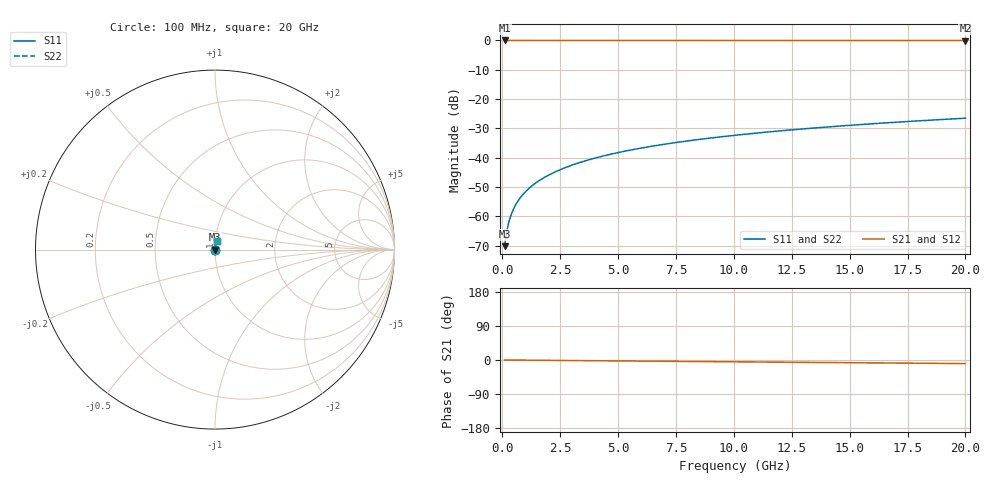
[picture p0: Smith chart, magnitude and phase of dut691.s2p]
! Touchstone file exported from HFSS 2026.1.0
!  File:  C:/ffzhzh/LocalFiles/Ansys_Project_Files/temp_train_TSV_691_1783027623_55676.aedt
!  Generated:  05:29:29 AM Jul  3, 2026
!  Design:  TSV
!  Project:  temp_train_TSV_691_1783027623_55676
! Variables:
!  h_bsmrdl = 2um
!  h_ox = 20um
!  h_rdl = 5um
!  h_sub = 87.3um
!  h_tmrdl = 5um
!  h_tsv = 87.3um
!  h_via = 3um
!  l_bsmrdl = 300um
!  l_sub = 419.82um
!  l_tmrdl = 200um
!  m_sub = 200um
!  pitch = 57.44um
!  r_tsv = 9.91um
!  s_tmrdl = 10um
!  w_bsmrdl = 18um
!  w_sub = 500um
!  w_tmrdl = 12um
!  x_tsv_center1 = 206um
!  x_tsv_center2 = 524um
!  x_tsv_center3 = 736um
!  x_tsv_center4 = 1054um
!  x_tsv_center5 = 1266um
!  x_tsv_center6 = 1584um
# GHz S MA R 50.000000
! Terminal data exported
! Port[1] = TSV1_1_T1
! Port[2] = TSV1_1_T2
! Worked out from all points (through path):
!   200 points, 100 MHz to 20 GHz, reference 50 ohm
!   highest |S21| = 0.00 dB at 100 MHz (marker M1); lowest = 0.0 dB at 20 GHz (marker M2)
!   group delay of S21, straight-line fit = 1.31 ps
!   lowest |S11| = -70.1 dB at 100 MHz (marker M3), VSWR 1.00, Z = 50 + j0.0281 ohm
!   |S11| at or under -10 dB: start of sweep to end of sweep
!   |S22| runs from -70.1 to -26.5 dB; largest |S21 - S12| = 5.6e-15
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0.1  0.0003114 64.4  0.9999 -0.0  0.9999 -0.0  0.0003114 64.4
! Gamma 0 0 0 0
! Port Impedance 50 0 50 0
0.2  0.000578 75.3  0.9999 -0.1  0.9999 -0.1  0.000578 75.3
0.3  0.0008493 78.8  0.9998 -0.1  0.9998 -0.1  0.0008493 78.8
0.4  0.001118 80.4  0.9998 -0.2  0.9998 -0.2  0.001118 80.4
0.5  0.001382 81.2  0.9998 -0.2  0.9998 -0.2  0.001382 81.2
0.6  0.001641 81.7  0.9998 -0.3  0.9998 -0.3  0.001641 81.7
0.7  0.001896 82.0  0.9997 -0.3  0.9997 -0.3  0.001896 82.0
0.8  0.002147 82.3  0.9997 -0.4  0.9997 -0.4  0.002147 82.3
1  0.002642 82.7  0.9997 -0.5  0.9997 -0.5  0.002642 82.7
1.4  0.003616 83.4  0.9996 -0.7  0.9996 -0.7  0.003616 83.4
1.7  0.004342 83.8  0.9996 -0.8  0.9996 -0.8  0.004342 83.8
2  0.005066 84.1  0.9995 -1.0  0.9995 -1.0  0.005066 84.1
2.7  0.006755 84.5  0.9995 -1.3  0.9995 -1.3  0.006755 84.5
3.5  0.00868 84.6  0.9994 -1.7  0.9994 -1.7  0.00868 84.6
4.2  0.01036 84.6  0.9993 -2.0  0.9993 -2.0  0.01036 84.6
5  0.01227 84.5  0.9993 -2.4  0.9993 -2.4  0.01227 84.5
6.8  0.01654 84.1  0.9991 -3.2  0.9991 -3.2  0.01654 84.1
8.3  0.02009 83.6  0.9989 -3.9  0.9989 -3.9  0.02009 83.6
10.1  0.02432 83.0  0.9988 -4.8  0.9988 -4.8  0.02432 83.0
13.4  0.03203 81.7  0.9984 -6.3  0.9984 -6.3  0.03203 81.7
16.7  0.03969 80.3  0.998 -7.9  0.998 -7.9  0.03969 80.3
20  0.04728 78.9  0.9975 -9.4  0.9975 -9.4  0.04728 78.9
